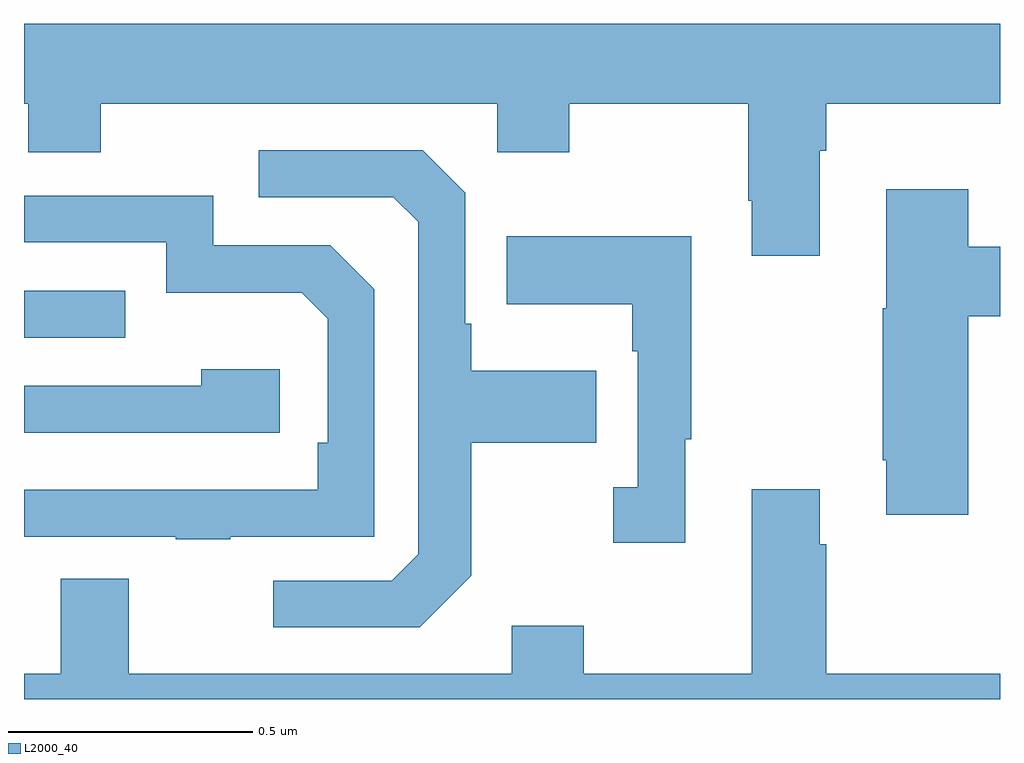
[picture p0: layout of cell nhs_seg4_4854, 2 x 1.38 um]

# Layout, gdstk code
import gdstk
lib = gdstk.Library(unit=1e-6, precision=1e-09)
def R(c, l, rs):  # rectangles x0, y0, x1, y1
    for r in rs: c.add(gdstk.rectangle(r[:2], r[2:], *l))
def P(c, l, *ps):  # polygons
    for p in ps: c.add(gdstk.Polygon(p, *l))
L2000_40 = (2000, 40)

nhs_seg4_4854 = lib.new_cell('nhs_seg4_4854')
R(nhs_seg4_4854, L2000_40, [(170,829.641,170.207,829.737)])
P(nhs_seg4_4854, L2000_40, [(171.631,830.024),(171.644,830.024),(171.644,830.12),(172,830.12),(172,830.284),(170,830.284),(170,830.12),(170.009,830.12),(170.009,830.021),(170.157,830.021),(170.157,830.12),(170.97,830.12),(170.97,830.021),(171.117,830.021),(171.117,830.12),(171.484,830.12),(171.484,829.921),(171.491,829.921),(171.491,829.809),(171.631,829.809)],
  [(170.917,829.153),(170.917,829.426),(171.173,829.426),(171.173,829.573),(170.917,829.573),(170.917,829.669),(170.904,829.669),(170.904,829.938),(170.817,830.025),(170.481,830.025),(170.481,829.929),(170.757,829.929),(170.808,829.878),(170.808,829.197),(170.754,829.143),(170.511,829.143),(170.511,829.047),(170.811,829.047)],
  [(171.935,829.685),(172,829.685),(172,829.827),(171.935,829.827),(171.935,829.945),(171.767,829.945),(171.767,829.701),(171.76,829.701),(171.76,829.39),(171.767,829.39),(171.767,829.278),(171.935,829.278)],
  [(170.423,829.233),(170.718,829.233),(170.718,829.74),(170.628,829.83),(170.388,829.83),(170.388,829.932),(170,829.932),(170,829.836),(170.292,829.836),(170.292,829.733),(170.569,829.733),(170.622,829.68),(170.622,829.426),(170.602,829.426),(170.602,829.329),(170,829.329),(170,829.233),(170.311,829.233),(170.311,829.228),(170.423,829.228)],
  [(171.355,829.433),(171.367,829.433),(171.367,829.849),(170.989,829.849),(170.989,829.709),(171.246,829.709),(171.246,829.613),(171.258,829.613),(171.258,829.334),(171.207,829.334),(171.207,829.221),(171.355,829.221)],
  [(170.524,829.576),(170.363,829.576),(170.363,829.542),(170,829.542),(170,829.446),(170.524,829.446)],
  [(172,828.952),(171.644,828.952),(171.644,829.217),(171.631,829.217),(171.631,829.33),(171.491,829.33),(171.491,828.952),(171.147,828.952),(171.147,829.051),(170.999,829.051),(170.999,828.952),(170.215,828.952),(170.215,829.147),(170.075,829.147),(170.075,828.952),(170,828.952),(170,828.9),(172,828.9)])

lib.write_gds('nhs_seg4_4854.gds')
